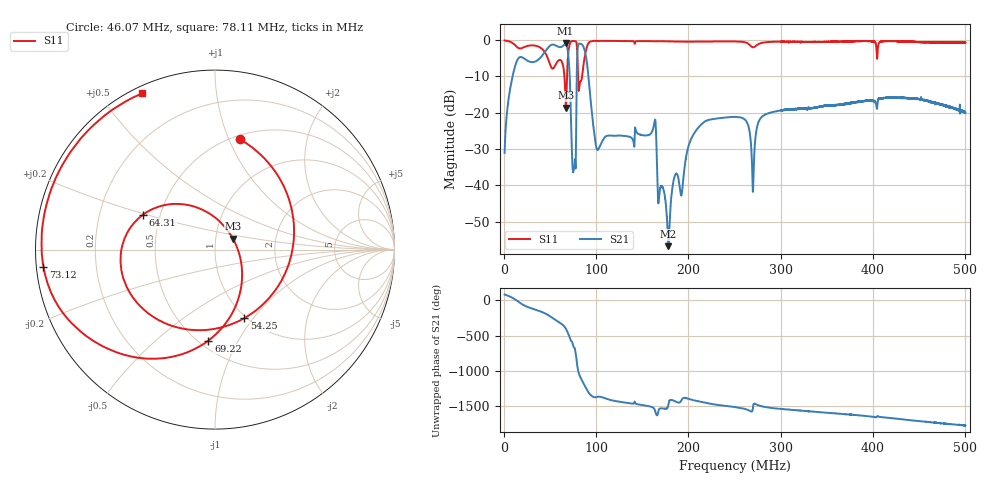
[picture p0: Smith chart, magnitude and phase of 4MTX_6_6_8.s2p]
! NanoVNA-App
! Date: 2026-08-18 22:11:18
! Start: 1MHz Stop: 500MHz Points: 6401
! S-Parameter data: F S11 S21 S12 S22
# Hz S RI R 50
!  Frequency  S11_Real  S11_Imag  S21_Real  S21_Imag  S12_Real  S12_Imag  S22_Real  S22_Imag
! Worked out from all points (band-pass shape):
!   6401 points, 1 MHz to 500 MHz, reference 50 ohm
!   highest |S21| = -0.90 dB at 67.04 MHz (marker M1); lowest = -56.7 dB at 178.2 MHz (marker M2)
!   |S21| within 3 dB of the highest: 42.82 MHz to 69.81 MHz (27 MHz wide, 47.9 % of centre); 79.74 MHz to 88.69 MHz (8.956 MHz wide, 10.6 % of centre)
!   lowest |S11| = -18.6 dB at 67.35 MHz (marker M3), VSWR 1.27, Z = 60.6 + j7.53 ohm
!   |S11| at or under -10 dB: 65.77 MHz to 68.48 MHz (2.703 MHz wide, 4.03 % of centre); 80.54 MHz to 84.93 MHz (4.384 MHz wide, 5.3 % of centre)
!   S12 and S22 are empty: the file has one direction only
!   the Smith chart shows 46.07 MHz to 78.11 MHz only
!   S11 on the Smith chart (normalised r, x): 46.07 MHz: 0.54, +1.09; 54.25 MHz: 0.98, -0.90; 64.31 MHz: 0.40, +0.19; 69.22 MHz: 0.56, -0.76; 73.12 MHz: 0.02, -0.05; 78.11 MHz: 0.03, +0.64
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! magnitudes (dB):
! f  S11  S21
! 1 MHz  -0.1  -31.0
! 14.49 MHz  -1.9  -5.6
! 46.07 MHz  -4.0  -2.7
! 54.25 MHz  -7.6  -1.3
! 64.31 MHz  -7.0  -1.5
! 67.04 MHz  -17.1  -0.9
! 67.35 MHz  -18.6  -0.9
! 69.22 MHz  -5.9  -2.6
! 73.12 MHz  -0.4  -24.1
! 75.85 MHz  -0.2  -35.5
! 78.11 MHz  -0.4  -32.8
! 84.19 MHz  -11.0  -1.1
! 101.3 MHz  -0.2  -30.2
! 162.6 MHz  -0.3  -23.6
! 167.4 MHz  -0.3  -44.8
! 178.2 MHz  -0.3  -56.7
! 206.4 MHz  -0.4  -25.6
! 250.5 MHz  -0.4  -21.1
! 269.9 MHz  -2.0  -41.8
! 333.7 MHz  -0.5  -18.7
! 416.9 MHz  -0.3  -15.8
! 500 MHz  -0.6  -20.0
